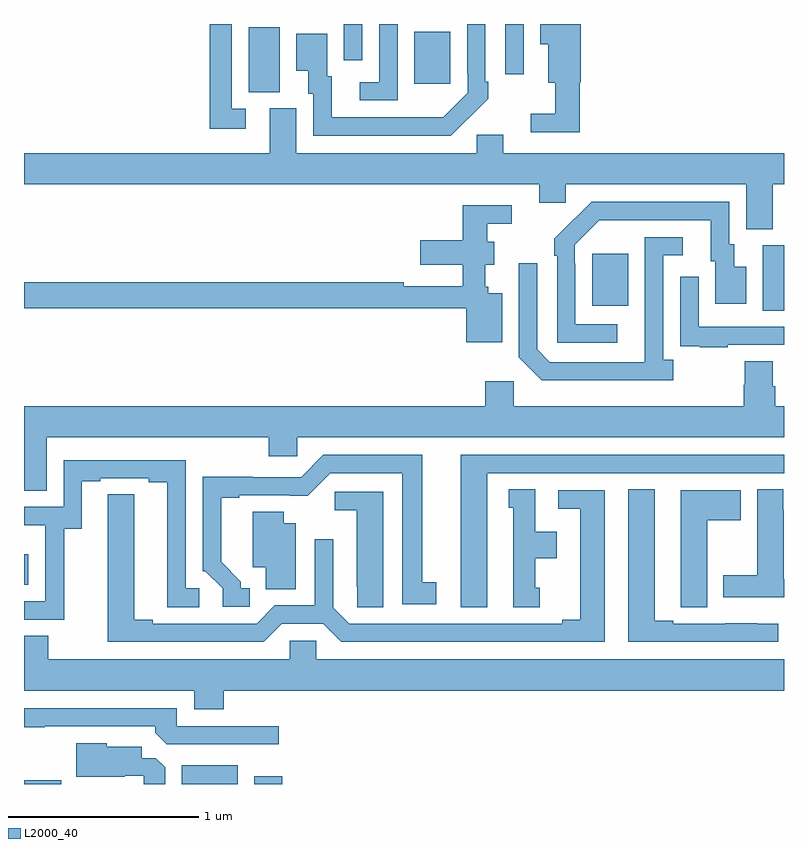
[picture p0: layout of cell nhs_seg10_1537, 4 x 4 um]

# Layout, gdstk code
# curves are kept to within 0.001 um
import gdstk
lib = gdstk.Library(unit=1e-6, precision=1e-09)
def R(c, l, rs):  # rectangles x0, y0, x1, y1
    for r in rs: c.add(gdstk.rectangle(r[:2], r[2:], *l))
def P(c, l, *ps):  # polygons
    for p in ps: c.add(gdstk.Polygon(p, *l))
L2000_40 = (2000, 40)

nhs_seg10_1537 = lib.new_cell('nhs_seg10_1537')
R(nhs_seg10_1537, L2000_40, [(191,1290.5,191.197,1290.52), (191.831,1290.5,192.124,1290.598), (192.212,1290.5,192.359,1290.541), (191,1291.55,191.023,1291.708), (194.888,1292.992,195,1293.336), (193.991,1293.017,194.179,1293.292), (192.182,1294.141,192.346,1294.484), (193.055,1294.185,193.243,1294.459), (193.533,1294.236,193.629,1294.5), (192.684,1294.308,192.78,1294.5)])
P(nhs_seg10_1537, L2000_40, [(192.966,1294.5),(192.87,1294.5),(192.87,1294.194),(192.768,1294.194),(192.768,1294.098),(192.966,1294.098)],
  [(193.925,1294.194),(193.931,1294.194),(193.931,1294.5),(193.718,1294.5),(193.718,1294.394),(193.76,1294.394),(193.76,1294.19),(193.797,1294.19),(193.797,1294.027),(193.668,1294.027),(193.668,1293.93),(193.925,1293.93)],
  [(193.337,1294.003),(193.338,1294.002),(193.443,1294.107),(193.443,1294.195),(193.428,1294.195),(193.428,1294.5),(193.332,1294.5),(193.332,1294.237),(193.335,1294.237),(193.335,1294.137),(193.207,1294.009),(192.619,1294.008),(192.619,1294.224),(192.595,1294.224),(192.595,1294.45),(192.434,1294.45),(192.434,1294.253),(192.497,1294.253),(192.497,1294.134),(192.522,1294.134),(192.522,1293.912),(193.246,1293.912)],
  [(192.166,1294.053),(192.093,1294.053),(192.093,1294.5),(191.977,1294.5),(191.977,1293.948),(192.166,1293.948)],
  [(193.712,1293.558),(193.851,1293.558),(193.851,1293.656),(194.801,1293.656),(194.801,1293.421),(194.941,1293.421),(194.941,1293.656),(195,1293.656),(195,1293.82),(193.522,1293.82),(193.522,1293.918),(193.383,1293.918),(193.383,1293.82),(192.433,1293.82),(192.433,1294.056),(192.293,1294.056),(192.293,1293.82),(191,1293.82),(191,1293.656),(193.712,1293.656)],
  [(194.122,1292.919),(193.902,1292.919),(193.902,1293.239),(193.899,1293.239),(193.899,1293.339),(194.028,1293.468),(194.615,1293.468),(194.615,1293.252),(194.639,1293.252),(194.639,1293.027),(194.8,1293.027),(194.8,1293.223),(194.737,1293.223),(194.737,1293.342),(194.712,1293.342),(194.712,1293.564),(193.988,1293.564),(193.791,1293.369),(193.791,1293.281),(193.806,1293.281),(193.806,1292.823),(194.122,1292.823)],
  [(193.516,1293.082),(193.444,1293.082),(193.444,1293.117),(193.427,1293.117),(193.427,1293.233),(193.474,1293.233),(193.474,1293.355),(193.438,1293.355),(193.438,1293.45),(193.567,1293.45),(193.567,1293.546),(193.309,1293.546),(193.309,1293.363),(193.086,1293.363),(193.086,1293.233),(193.309,1293.233),(193.309,1293.12),(192.998,1293.12),(192.998,1293.14),(191,1293.14),(191,1293.004),(193.328,1293.004),(193.328,1292.825),(193.516,1292.825)],
  [(194.416,1292.734),(194.364,1292.734),(194.364,1293.282),(194.467,1293.282),(194.467,1293.378),(194.268,1293.378),(194.267,1292.721),(193.767,1292.721),(193.701,1292.787),(193.701,1293.241),(193.605,1293.241),(193.605,1292.745),(193.726,1292.624),(194.416,1292.624)],
  [(194.705,1292.811),(195,1292.811),(195,1292.907),(194.55,1292.907),(194.55,1293.169),(194.454,1293.169),(194.454,1292.914),(194.455,1292.914),(194.455,1292.805),(194.557,1292.805),(194.557,1292.799),(194.705,1292.799)],
  [(191.119,1292.324),(192.287,1292.324),(192.287,1292.226),(192.438,1292.226),(192.438,1292.324),(195,1292.324),(195,1292.488),(194.954,1292.488),(194.954,1292.594),(194.941,1292.594),(194.941,1292.726),(194.794,1292.726),(194.794,1292.601),(194.789,1292.601),(194.789,1292.488),(193.578,1292.488),(193.578,1292.62),(193.427,1292.62),(193.427,1292.488),(191,1292.488),(191,1292.044),(191.119,1292.044)],
  [(193.438,1292.136),(195,1292.136),(195,1292.232),(193.298,1292.232),(193.298,1291.431),(193.438,1291.431)],
  [(192.187,1291.53),(192.142,1291.53),(192.142,1291.565),(192.037,1291.67),(192.037,1292.007),(192.133,1292.007),(192.133,1292.019),(192.494,1292.018),(192.612,1292.136),(192.992,1292.136),(192.992,1291.446),(193.171,1291.446),(193.171,1291.562),(193.096,1291.562),(193.096,1292.232),(192.576,1292.232),(192.459,1292.115),(192.203,1292.115),(192.203,1292.117),(191.94,1292.117),(191.94,1291.62),(191.955,1291.62),(192.045,1291.53),(192.045,1291.434),(192.187,1291.434)],
  [(191.211,1291.843),(191.305,1291.843),(191.305,1292.094),(191.401,1292.094),(191.401,1292.109),(191.657,1292.109),(191.657,1292.089),(191.753,1292.089),(191.753,1291.429),(191.923,1291.429),(191.923,1291.53),(191.85,1291.53),(191.85,1292.205),(191.208,1292.205),(191.208,1291.959),(191,1291.959),(191,1291.863),(191.111,1291.863),(191.111,1291.862),(191.112,1291.862),(191.112,1291.461),(191,1291.461),(191,1291.365),(191.211,1291.365)],
  [(194.971,1291.344),(194.858,1291.344),(194.858,1291.345),(194.692,1291.345),(194.692,1291.344),(194.416,1291.344),(194.416,1291.359),(194.32,1291.359),(194.32,1292.051),(194.18,1292.051),(194.18,1291.248),(194.971,1291.248)],
  [(193.714,1291.533),(193.69,1291.533),(193.69,1291.688),(193.804,1291.688),(193.804,1291.828),(193.69,1291.828),(193.69,1292.051),(193.55,1292.051),(193.55,1291.953),(193.574,1291.953),(193.574,1291.431),(193.714,1291.431)],
  [(195,1291.578),(194.998,1291.578),(194.998,1291.94),(194.997,1291.94),(194.997,1292.051),(194.858,1292.051),(194.858,1291.599),(194.681,1291.599),(194.681,1291.482),(195,1291.482)],
  [(194.596,1291.888),(194.773,1291.888),(194.773,1292.047),(194.456,1292.047),(194.456,1291.537),(194.457,1291.537),(194.457,1291.429),(194.596,1291.429)],
  [(192.357,1291.344),(192.575,1291.344),(192.671,1291.248),(194.056,1291.248),(194.056,1292.046),(193.812,1292.046),(193.812,1291.95),(193.928,1291.95),(193.928,1291.364),(193.832,1291.364),(193.832,1291.344),(192.711,1291.344),(192.627,1291.428),(192.627,1291.789),(192.531,1291.789),(192.531,1291.44),(192.321,1291.44),(192.225,1291.344),(191.677,1291.344),(191.677,1291.364),(191.581,1291.364),(191.581,1292.024),(191.442,1292.024),(191.441,1291.248),(192.261,1291.248)],
  [(192.892,1292.037),(192.636,1292.037),(192.636,1291.94),(192.752,1291.94),(192.752,1291.537),(192.753,1291.537),(192.753,1291.429),(192.892,1291.429)],
  [(192.43,1291.873),(192.367,1291.873),(192.367,1291.934),(192.203,1291.934),(192.203,1291.64),(192.272,1291.64),(192.272,1291.525),(192.43,1291.525)],
  [(192.05,1290.992),(195,1290.992),(195,1291.156),(192.537,1291.156),(192.537,1291.254),(192.399,1291.254),(192.399,1291.156),(191.127,1291.156),(191.127,1291.28),(191,1291.28),(191,1290.992),(191.897,1290.992),(191.897,1290.893),(192.05,1290.893)],
  [(192.34,1290.804),(191.805,1290.804),(191.805,1290.9),(191,1290.9),(191,1290.799),(191.11,1290.799),(191.11,1290.804),(191.69,1290.804),(191.69,1290.77),(191.751,1290.708),(192.34,1290.708)],
  [(191.743,1290.587),(191.694,1290.636),(191.62,1290.636),(191.62,1290.697),(191.436,1290.697),(191.436,1290.715),(191.276,1290.715),(191.276,1290.539),(191.531,1290.539),(191.531,1290.543),(191.631,1290.543),(191.631,1290.5),(191.743,1290.5)])

lib.write_gds('nhs_seg10_1537.gds')
